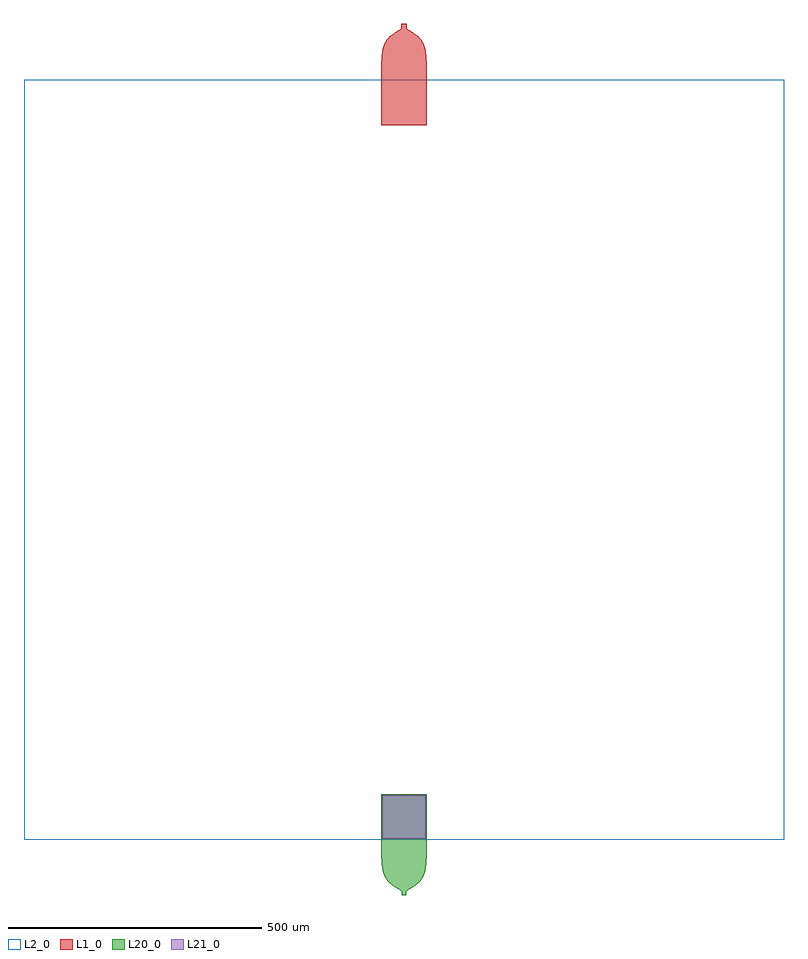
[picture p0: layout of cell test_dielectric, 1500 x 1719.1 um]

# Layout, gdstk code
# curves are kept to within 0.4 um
from math import pi, radians
import gdstk
lib = gdstk.Library(unit=1e-6, precision=1e-09)
def R(c, l, rs):  # rectangles x0, y0, x1, y1
    for r in rs: c.add(gdstk.rectangle(r[:2], r[2:], *l))
def P(c, l, *ps):  # polygons
    for p in ps: c.add(gdstk.Polygon(p, *l))
L1_0 = (1, 0)
L2_0 = (2, 0)
L20_0 = (20, 0)
L21_0 = (21, 0)

compass_d24d07f5 = lib.new_cell('compass_d24d07f5')
R(compass_d24d07f5, L2_0, [(-750,-750,750,750)])

rectangle_d24d07f5 = lib.new_cell('rectangle_d24d07f5')
rectangle_d24d07f5.add(gdstk.Reference(compass_d24d07f5, (750,750)))

compass_layer20__0_size9 = lib.new_cell('compass_layer20__0_size90__90')
R(compass_layer20__0_size9, L20_0, [(-45,-45,45,45)])

rectangle_layer20__0_siz = lib.new_cell('rectangle_layer20__0_size90__90')
rectangle_layer20__0_siz.add(gdstk.Reference(compass_layer20__0_size9, (45,45)))

compass_layer21__0_size8 = lib.new_cell('compass_layer21__0_size86__86')
R(compass_layer21__0_size8, L21_0, [(-43,-43,43,43)])

rectangle_layer21__0_siz = lib.new_cell('rectangle_layer21__0_size86__86')
rectangle_layer21__0_siz.add(gdstk.Reference(compass_layer21__0_size8, (43,43)))

compass_layer1__0_size90 = lib.new_cell('compass_layer1__0_size90__90')
R(compass_layer1__0_size90, L1_0, [(-45,-45,45,45)])

rectangle_layer1__0_size = lib.new_cell('rectangle_layer1__0_size90__90')
rectangle_layer1__0_size.add(gdstk.Reference(compass_layer1__0_size90, (45,45)))

optimal_step_4c57cb9a = lib.new_cell('optimal_step_4c57cb9a')
P(optimal_step_4c57cb9a, L20_0, [(-6.55,4),(-1.055,4.298),(1.143,5.478),(12.132,22.264),(17.627,29.002),(25.319,35.469),(33.011,39.393),(42.902,42.181),(56.089,43.878),(102.243,45),(102.243,-45),(71.473,-44.617),(53.891,-43.691),(40.704,-41.715),(30.814,-38.47),(23.121,-33.929),(16.528,-27.808),(11.033,-20.686),(1.143,-5.478),(-1.055,-4.298),(-6.55,-4)])

optimal_step_rotate_4829 = lib.new_cell('optimal_step_rotate_48290075')
optimal_step_rotate_4829.add(gdstk.Reference(optimal_step_4c57cb9a, (0,0), rotation=pi/2))

optimal_step_c91e0088 = lib.new_cell('optimal_step_c91e0088')
P(optimal_step_c91e0088, L1_0, [(-8.182,5),(-2.611,5.165),(0.731,6.267),(2.96,8.601),(12.987,23.678),(18.558,30.105),(25.244,35.509),(34.157,39.867),(44.185,42.447),(56.441,43.914),(102.122,45),(102.122,-45),(70.925,-44.605),(54.212,-43.731),(40.842,-41.775),(30.814,-38.53),(24.129,-34.758),(17.444,-28.971),(12.987,-23.678),(2.96,-8.601),(0.731,-6.267),(-2.611,-5.165),(-8.182,-5)])

optimal_step_rotate_1a21 = lib.new_cell('optimal_step_rotate_1a219c33')
optimal_step_rotate_1a21.add(gdstk.Reference(optimal_step_c91e0088, (0,0), rotation=3*pi/2))

test_dielectric = lib.new_cell('test_dielectric')
test_dielectric.add(gdstk.Reference(rectangle_d24d07f5, (0,0)))
test_dielectric.add(gdstk.Reference(rectangle_layer20__0_siz, (705,0)))
test_dielectric.add(gdstk.Reference(rectangle_layer21__0_siz, (707,2)))
test_dielectric.add(gdstk.Reference(rectangle_layer1__0_size, (705,1410)))
test_dielectric.add(gdstk.Reference(optimal_step_rotate_4829, (750,-102.243)))
test_dielectric.add(gdstk.Reference(optimal_step_rotate_1a21, (750,1602.122)))

lib.write_gds('test_dielectric.gds')
